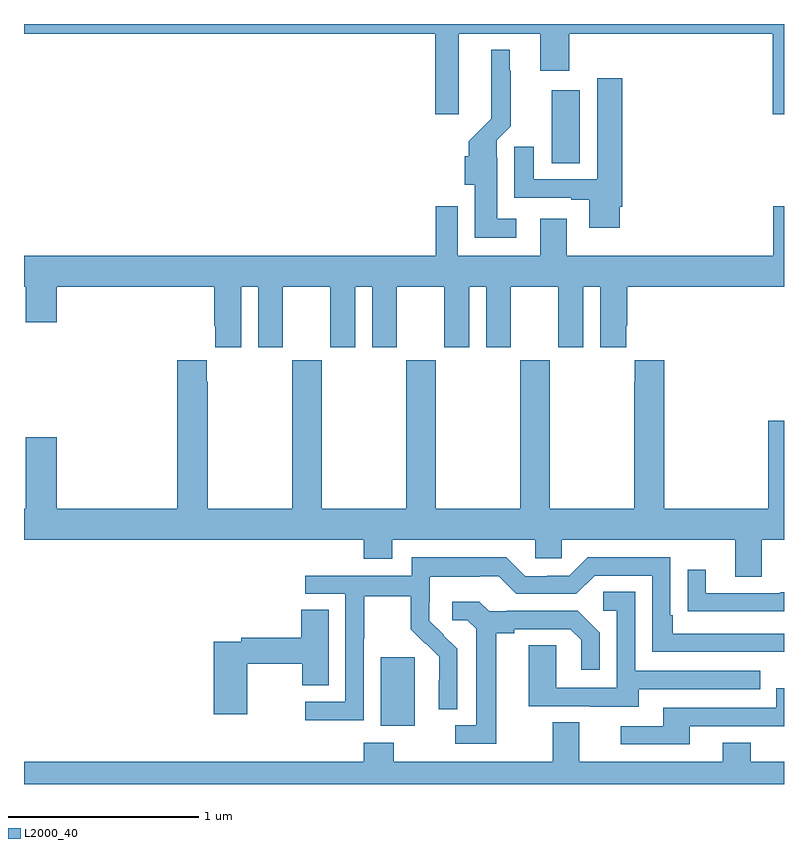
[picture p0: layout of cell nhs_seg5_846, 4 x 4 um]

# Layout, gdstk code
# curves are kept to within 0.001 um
import gdstk
lib = gdstk.Library(unit=1e-6, precision=1e-09)
def R(c, l, rs):  # rectangles x0, y0, x1, y1
    for r in rs: c.add(gdstk.rectangle(r[:2], r[2:], *l))
def P(c, l, *ps):  # polygons
    for p in ps: c.add(gdstk.Polygon(p, *l))
L2000_40 = (2000, 40)

nhs_seg5_846 = lib.new_cell('nhs_seg5_846')
R(nhs_seg5_846, L2000_40, [(166.877,865.106,167.056,865.467), (167.777,868.066,167.926,868.45)])
P(nhs_seg5_846, L2000_40, [(167.287,868.748),(167.717,868.748),(167.717,868.554),(167.87,868.554),(167.87,868.748),(168.941,868.748),(168.941,868.323),(169,868.323),(169,868.799),(165,868.799),(165,868.748),(167.165,868.748),(167.165,868.323),(167.287,868.323)],
  [(167.59,867.775),(167.491,867.775),(167.491,868.094),(167.487,868.094),(167.487,868.188),(167.561,868.262),(167.561,868.553),(167.557,868.553),(167.557,868.663),(167.459,868.663),(167.46,868.3),(167.342,868.182),(167.342,868.103),(167.321,868.103),(167.321,867.954),(167.372,867.954),(167.372,867.674),(167.59,867.674)],
  [(168.136,867.838),(168.149,867.838),(168.149,868.513),(168.017,868.513),(168.017,867.981),(167.683,867.981),(167.683,868.153),(167.579,868.153),(167.579,867.885),(167.879,867.885),(167.879,867.873),(167.975,867.873),(167.975,867.726),(168.136,867.726)],
  [(167.283,867.841),(167.167,867.841),(167.167,867.58),(165,867.58),(165,867.416),(165.008,867.416),(165.008,867.228),(165.172,867.228),(165.172,867.416),(166.001,867.416),(166.001,867.211),(166.007,867.211),(166.007,867.099),(166.144,867.099),(166.144,867.416),(166.232,867.416),(166.232,867.099),(166.363,867.099),(166.363,867.416),(166.613,867.416),(166.613,867.099),(166.744,867.099),(166.744,867.416),(166.832,867.416),(166.832,867.099),(166.963,867.099),(166.963,867.416),(167.213,867.416),(167.213,867.099),(167.344,867.099),(167.344,867.416),(167.432,867.416),(167.432,867.099),(167.563,867.099),(167.563,867.416),(167.813,867.416),(167.813,867.099),(167.944,867.099),(167.944,867.416),(168.032,867.416),(168.032,867.099),(168.169,867.099),(168.169,867.211),(168.176,867.211),(168.176,867.416),(169,867.416),(169,867.841),(168.943,867.841),(168.943,867.58),(167.857,867.58),(167.857,867.775),(167.717,867.775),(167.717,867.58),(167.283,867.58)],
  [(168.371,867.028),(168.215,867.028),(168.215,866.915),(168.211,866.915),(168.211,866.248),(167.766,866.248),(167.766,867.028),(167.611,867.028),(167.611,866.248),(167.166,866.248),(167.166,867.028),(167.011,867.028),(167.011,866.248),(166.566,866.248),(166.566,867.028),(166.411,867.028),(166.411,866.248),(165.966,866.248),(165.966,866.915),(165.961,866.915),(165.961,867.028),(165.806,867.028),(165.806,866.248),(165.172,866.248),(165.172,866.623),(165.008,866.623),(165.008,866.248),(165,866.248),(165,866.084),(166.787,866.084),(166.787,865.985),(166.939,865.985),(166.939,866.084),(167.691,866.084),(167.691,865.986),(167.829,865.986),(167.829,866.084),(168.743,866.084),(168.743,865.89),(168.883,865.89),(168.883,866.084),(169,866.084),(169,866.71),(168.917,866.71),(168.917,866.248),(168.371,866.248)],
  [(166.788,865.564),(166.791,865.564),(166.791,865.788),(167.035,865.788),(167.035,865.613),(167.112,865.536),(167.115,865.539),(167.186,865.469),(167.186,865.346),(167.184,865.346),(167.184,865.192),(167.28,865.192),(167.28,865.51),(167.134,865.658),(167.134,865.755),(167.136,865.755),(167.136,865.889),(167.399,865.889),(167.399,865.893),(167.499,865.893),(167.592,865.8),(167.907,865.8),(168.003,865.896),(168.306,865.896),(168.306,865.494),(169,865.494),(169,865.59),(168.415,865.59),(168.415,865.687),(168.402,865.687),(168.402,865.992),(167.967,865.992),(167.871,865.896),(167.753,865.896),(167.753,865.893),(167.637,865.893),(167.537,865.993),(167.04,865.993),(167.04,865.896),(166.479,865.896),(166.479,865.8),(166.692,865.8),(166.692,865.233),(166.479,865.233),(166.479,865.135),(166.788,865.135)],
  [(169,865.808),(168.979,865.808),(168.979,865.803),(168.589,865.803),(168.589,865.927),(168.493,865.927),(168.493,865.708),(168.595,865.708),(168.595,865.707),(169,865.707)],
  [(168.235,865.299),(168.875,865.299),(168.875,865.395),(168.216,865.395),(168.216,865.811),(168.048,865.811),(168.048,865.71),(168.12,865.71),(168.12,865.305),(167.802,865.305),(167.802,865.529),(167.657,865.529),(167.657,865.209),(167.981,865.209),(167.981,865.205),(168.235,865.205)],
  [(167.485,865.592),(167.581,865.592),(167.581,865.614),(167.876,865.614),(167.933,865.557),(167.933,865.401),(168.03,865.401),(168.03,865.594),(167.914,865.71),(167.542,865.71),(167.542,865.707),(167.448,865.707),(167.396,865.759),(167.253,865.759),(167.253,865.662),(167.334,865.662),(167.381,865.615),(167.381,865.107),(167.271,865.107),(167.271,865.011),(167.485,865.011)],
  [(166.176,865.432),(166.465,865.432),(166.465,865.318),(166.603,865.318),(166.603,865.715),(166.46,865.715),(166.46,865.568),(166.144,865.568),(166.144,865.548),(165.998,865.548),(165.998,865.167),(166.176,865.167)],
  [(168.505,865.104),(169,865.104),(169,865.303),(168.96,865.303),(168.96,865.2),(168.365,865.2),(168.365,865.104),(168.141,865.104),(168.141,865.008),(168.505,865.008)],
  [(169,864.916),(168.825,864.916),(168.825,865.015),(168.677,865.015),(168.677,864.916),(167.923,864.916),(167.923,865.124),(167.783,865.124),(167.783,864.916),(166.947,864.916),(166.947,865.015),(166.787,865.015),(166.787,864.916),(165,864.916),(165,864.799),(169,864.799)])

lib.write_gds('nhs_seg5_846.gds')
